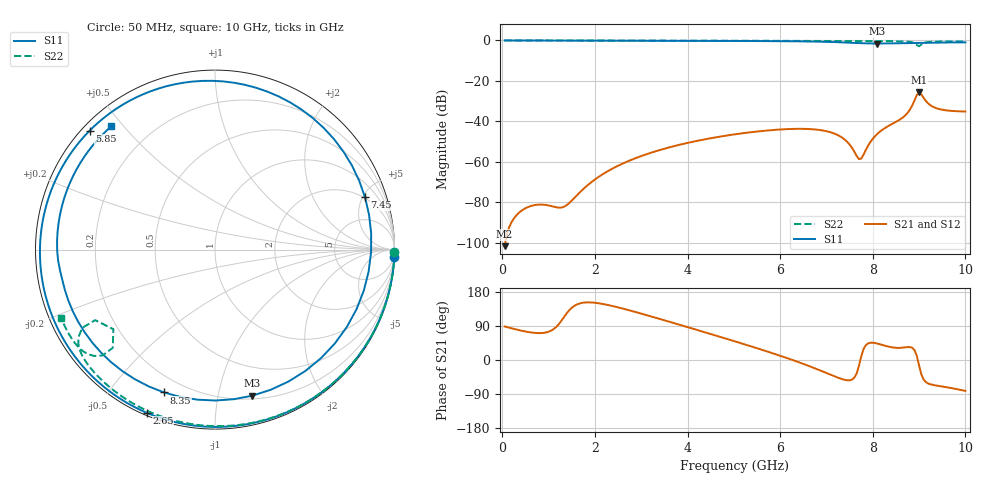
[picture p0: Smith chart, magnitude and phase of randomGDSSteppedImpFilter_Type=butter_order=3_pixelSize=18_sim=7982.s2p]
! freq	dB(S11)	phase(S11)	dB(S12)	phase(S12)
!  dB(S21)	phase(S21)	dB(S22)	phase(S22)
!S-par simulation data
#  GHz  S  DB  R 50
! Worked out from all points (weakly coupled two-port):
!   200 points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, 50 MHz to 10 GHz, reference 50 ohm
!   highest |S21| = -25.67 dB at 9 GHz (marker M1); lowest = -101.6 dB at 50 MHz (marker M2)
!   lowest |S11| = -1.5 dB at 8.1 GHz (marker M3), VSWR 11.50, Z = 11.4 - j63.1 ohm
!   |S11| at or under -10 dB: nowhere
!   |S22| runs from -2.9 to 0.0 dB; largest |S21 - S12| = 0
!   S11 on the Smith chart (normalised r, x): 50 MHz: 0, -48; 2.65 GHz: 0.01, -0.67; 5.85 GHz: 0.02, +0.40; 7.45 GHz: 1.94, +5.21; 8.35 GHz: 0.13, -0.70; 10 GHz: 0.07, +0.46
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0.05  -0.00 -2.4  -101.60 88.5  -101.60 88.5  -0.00 -0.9
0.7  -0.04 -33.0  -81.30 71.5  -81.30 71.5  -0.02 -12.6
1.45  -0.08 -66.2  -80.21 131.8  -80.21 131.8  -0.03 -25.9
1.75  -0.09 -78.6  -73.36 151.3  -73.36 151.3  -0.04 -31.2
2.65  -0.13 -112.7  -60.29 134.2  -60.29 134.2  -0.06 -46.6
3.4  -0.15 -138.4  -54.12 108.4  -54.12 108.4  -0.08 -59.2
4.25  -0.19 -166.0  -49.38 77.7  -49.38 77.7  -0.10 -72.9
5.05  -0.24 167.3  -46.27 48.2  -46.27 48.2  -0.13 -85.4
5.85  -0.33 136.5  -44.23 17.4  -44.23 17.4  -0.17 -97.6
6.7  -0.53 90.8  -43.86 -19.5  -43.86 -19.5  -0.22 -110.3
7.1  -0.75 58.2  -45.43 -39.4  -45.43 -39.4  -0.24 -116.2
7.45  -1.06 19.2  -50.13 -53.5  -50.13 -53.5  -0.27 -121.3
7.7  -1.31 -15.4  -58.57 -16.3  -58.57 -16.3  -0.29 -125.1
7.75  -1.35 -22.9  -58.39 9.2  -58.39 9.2  -0.30 -125.8
8.1  -1.51 -75.7  -46.11 43.4  -46.11 43.4  -0.33 -131.2
8.35  -1.46 -109.6  -42.06 35.0  -42.06 35.0  -0.37 -135.3
8.75  -1.29 -152.3  -35.81 34.1  -35.81 34.1  -0.57 -143.8
8.9  -1.25 -164.9  -29.68 26.2  -29.68 26.2  -1.33 -149.5
9  -1.20 -172.3  -25.67 -14.6  -25.67 -14.6  -2.87 -141.9
9.1  -1.12 -179.6  -28.42 -51.9  -28.42 -51.9  -1.30 -136.8
9.35  -1.05 164.0  -33.28 -66.9  -33.28 -66.9  -0.58 -144.5
10  -0.94 130.1  -35.11 -81.5  -35.11 -81.5  -0.56 -156.1
